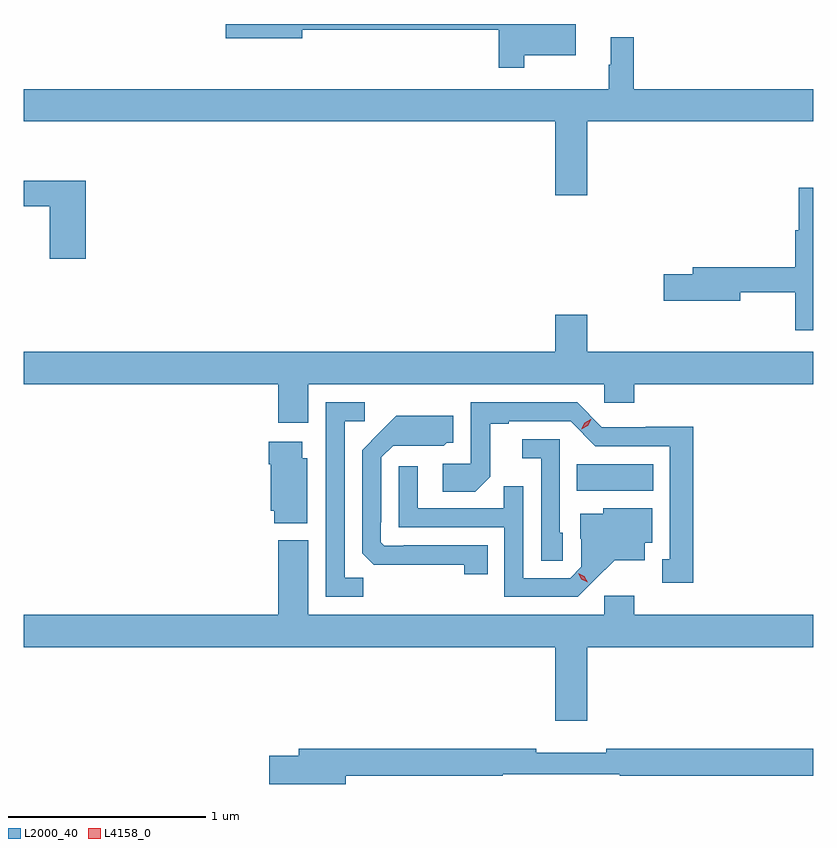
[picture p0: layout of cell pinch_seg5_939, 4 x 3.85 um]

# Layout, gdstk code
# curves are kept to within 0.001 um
import gdstk
lib = gdstk.Library(unit=1e-6, precision=1e-09)
def R(c, l, rs):  # rectangles x0, y0, x1, y1
    for r in rs: c.add(gdstk.rectangle(r[:2], r[2:], *l))
def P(c, l, *ps):  # polygons
    for p in ps: c.add(gdstk.Polygon(p, *l))
L2000_40 = (2000, 40)
L4158_0 = (4158, 0)

pinch_seg5_939 = lib.new_cell('pinch_seg5_939')
R(pinch_seg5_939, L2000_40, [(704.578,888.188,704.965,888.322)])
P(pinch_seg5_939, L2000_40, [(704.311,890.396),(704.572,890.396),(704.572,890.554),(702.798,890.554),(702.798,890.483),(703.186,890.483),(703.186,890.526),(704.182,890.526),(704.182,890.331),(704.311,890.331)],
  [(704.632,890.06),(705.776,890.06),(705.776,890.224),(704.867,890.224),(704.867,890.488),(704.75,890.488),(704.75,890.348),(704.739,890.348),(704.739,890.224),(701.776,890.224),(701.776,890.06),(704.468,890.06),(704.468,889.686),(704.632,889.686)],
  [(702.089,889.759),(701.776,889.759),(701.776,889.63),(701.906,889.63),(701.906,889.365),(702.089,889.365)],
  [(705.776,889.723),(705.704,889.723),(705.704,889.509),(705.685,889.509),(705.685,889.322),(705.167,889.322),(705.167,889.286),(705.018,889.286),(705.018,889.151),(705.406,889.151),(705.406,889.194),(705.685,889.194),(705.685,889.002),(705.776,889.002)],
  [(703.216,888.728),(704.718,888.728),(704.718,888.635),(704.87,888.635),(704.87,888.728),(705.776,888.728),(705.776,888.892),(704.632,888.892),(704.632,889.081),(704.468,889.081),(704.468,888.892),(701.776,888.892),(701.776,888.728),(703.064,888.728),(703.064,888.534),(703.216,888.534)],
  [(703.497,887.747),(703.401,887.747),(703.401,888.54),(703.504,888.54),(703.504,888.636),(703.305,888.636),(703.305,887.652),(703.497,887.652)],
  [(705.169,888.512),(704.928,888.512),(704.928,888.51),(704.706,888.51),(704.58,888.636),(704.04,888.636),(704.04,888.324),(703.899,888.324),(703.899,888.184),(704.063,888.184),(704.139,888.26),(704.139,888.528),(704.233,888.528),(704.233,888.54),(704.547,888.54),(704.673,888.414),(705.05,888.414),(705.05,887.841),(705.011,887.841),(705.011,887.721),(705.169,887.721)],
  [(704.126,887.913),(703.702,887.913),(703.702,887.91),(703.602,887.91),(703.584,887.928),(703.584,888.028),(703.587,888.028),(703.587,888.357),(703.647,888.417),(703.904,888.416),(703.92,888.432),(703.951,888.432),(703.951,888.568),(703.663,888.568),(703.491,888.394),(703.491,887.872),(703.55,887.813),(704.008,887.812),(704.008,887.766),(704.126,887.766)],
  [(704.508,887.976),(704.493,887.976),(704.493,888.45),(704.301,888.45),(704.301,888.353),(704.397,888.353),(704.397,887.833),(704.508,887.833)],
  [(703.213,888.354),(703.186,888.354),(703.186,888.436),(703.016,888.436),(703.016,888.323),(703.028,888.323),(703.028,888.087),(703.046,888.087),(703.046,888.023),(703.213,888.023)],
  [(704.668,887.735),(704.771,887.837),(704.923,887.837),(704.923,887.924),(704.962,887.924),(704.962,888.1),(704.712,888.1),(704.712,888.073),(704.597,888.073),(704.597,887.944),(704.601,887.944),(704.601,887.802),(704.544,887.745),(704.307,887.745),(704.307,888.212),(704.209,888.212),(704.209,888.099),(703.773,888.099),(703.773,888.313),(703.677,888.313),(703.677,888.003),(704.211,888.003),(704.211,887.652),(704.584,887.652)],
  [(704.632,887.396),(705.776,887.396),(705.776,887.56),(704.87,887.56),(704.87,887.656),(704.718,887.656),(704.718,887.56),(703.216,887.56),(703.216,887.938),(703.064,887.938),(703.064,887.56),(701.776,887.56),(701.776,887.396),(704.468,887.396),(704.468,887.022),(704.632,887.022)],
  [(703.408,886.744),(704.204,886.744),(704.204,886.752),(704.797,886.752),(704.797,886.744),(705.776,886.744),(705.776,886.88),(704.728,886.88),(704.728,886.861),(704.372,886.861),(704.372,886.88),(703.169,886.88),(703.169,886.844),(703.02,886.844),(703.02,886.702),(703.408,886.702)])
P(pinch_seg5_939, L4158_0, [(704.601,888.5),(704.601,888.5),(704.618,888.532),(704.65,888.551),(704.651,888.551),(704.651,888.551),(704.633,888.518),(704.601,888.5)],
  [(704.633,887.725),(704.602,887.74),(704.585,887.769),(704.585,887.77),(704.586,887.77),(704.616,887.754),(704.633,887.725),(704.633,887.725)])

lib.write_gds('pinch_seg5_939.gds')
